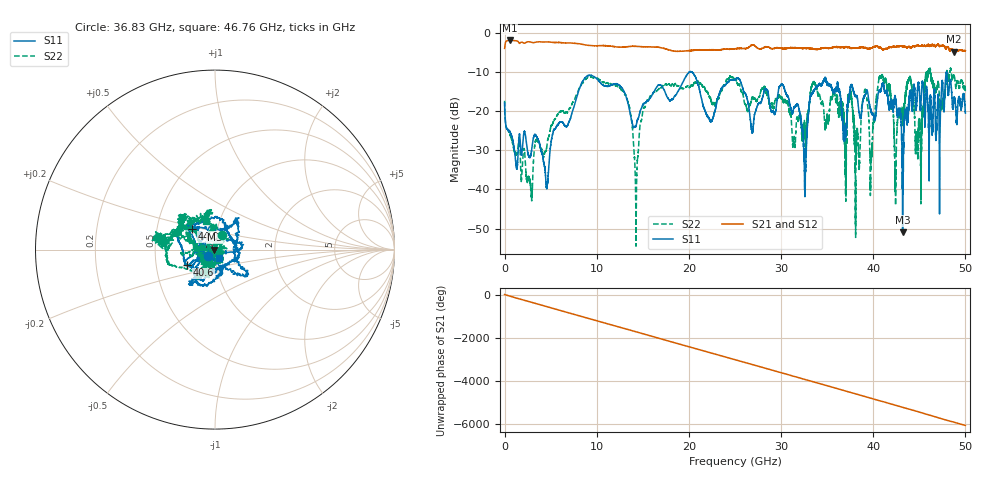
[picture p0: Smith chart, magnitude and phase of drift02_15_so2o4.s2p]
!Created with skrf (http://scikit-rf.org).
# Hz S RI R 50.0
!freq ReS11 ImS11 ReS21 ImS21 ReS12 ImS12 ReS22 ImS22
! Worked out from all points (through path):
!   10001 points, 300 kHz to 50 GHz, reference 50 ohm
!   highest |S21| = -2.00 dB at 565.3 MHz (marker M1); lowest = -4.9 dB at 48.77 GHz (marker M2)
!   group delay of S21, straight-line fit = 337 ps
!   lowest |S11| = -50.9 dB at 43.19 GHz (marker M3), VSWR 1.01, Z = 49.7 - j0.0251 ohm
!   |S11| at or under -10 dB: start of sweep to 20.06 GHz; 20.06406 GHz to 20.06627 GHz (2.208 MHz wide, 0.011 % of centre); 20.24 GHz to end of sweep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
!   |S22| runs from -54.5 to -9.0 dB; largest |S21 - S12| = 0.032
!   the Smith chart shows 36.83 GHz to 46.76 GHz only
!   S11 on the Smith chart (normalised r, x): 36.83 GHz: 0.92, -0.07; 40.6 GHz: 0.72, -0.13; 44.06 GHz: 0.75, +0.18; 46.76 GHz: 1.04, -0.10
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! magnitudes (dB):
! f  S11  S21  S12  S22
! 300 kHz  -17.9  -4.0  -4.0  -17.4
! 565.3 MHz  -25.3  -2.0  -2.0  -25.9
! 4.565 GHz  -39.9  -2.4  -2.4  -29.3
! 8.335 GHz  -13.0  -2.9  -2.9  -13.2
! 13.01 GHz  -15.3  -3.6  -3.7  -15.6
! 14.27 GHz  -23.8  -3.5  -3.5  -51.5
! 16.67 GHz  -13.4  -3.7  -3.7  -14.5
! 25 GHz  -12.0  -4.1  -4.1  -12.1
! 32.56 GHz  -40.2  -3.9  -4.0  -24.5
! 33.34 GHz  -15.8  -4.0  -4.1  -13.5
! 36.83 GHz  -25.5  -3.7  -3.6  -21.2
! 38.29 GHz  -16.9  -3.9  -3.9  -24.9
! 39.13 GHz  -15.9  -3.9  -3.9  -14.4
! 39.81 GHz  -20.3  -4.0  -4.0  -31.6
! 40.6 GHz  -15.0  -3.8  -3.8  -12.1
! 41.67 GHz  -18.6  -3.8  -3.9  -13.1
! 43.19 GHz  -50.9  -3.6  -3.6  -21.7
! 44.06 GHz  -15.2  -3.9  -3.9  -11.7
! 44.99 GHz  -14.8  -3.4  -3.3  -22.3
! 46.76 GHz  -25.5  -3.5  -3.5  -15.4
! 48.77 GHz  -16.8  -4.9  -4.8  -11.0
! 50 GHz  -20.5  -4.6  -4.6  -14.8
